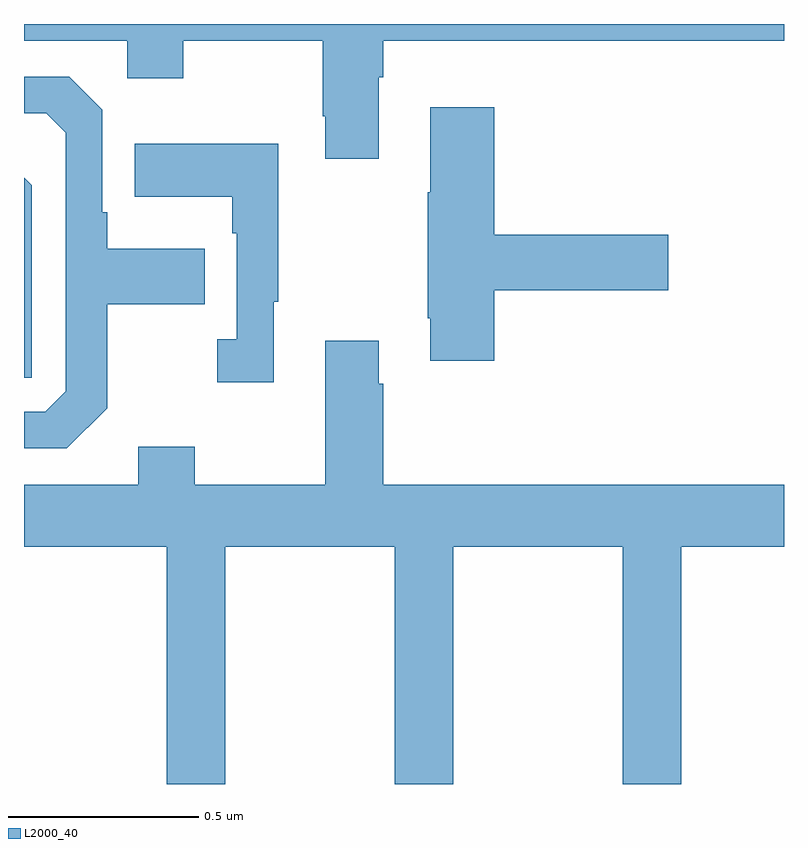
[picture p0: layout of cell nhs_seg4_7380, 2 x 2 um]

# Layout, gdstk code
import gdstk
lib = gdstk.Library(unit=1e-6, precision=1e-09)
def P(c, l, *ps):  # polygons
    for p in ps: c.add(gdstk.Polygon(p, *l))
L2000_40 = (2000, 40)

nhs_seg4_7380 = lib.new_cell('nhs_seg4_7380')
P(nhs_seg4_7380, L2000_40, [(202.933,760.76),(202.946,760.76),(202.946,760.856),(204,760.856),(204,760.9),(202,760.9),(202,760.856),(202.272,760.856),(202.272,760.757),(202.419,760.757),(202.419,760.856),(202.786,760.856),(202.786,760.657),(202.793,760.657),(202.793,760.545),(202.933,760.545)],
  [(202.219,759.889),(202.219,760.162),(202.475,760.162),(202.475,760.309),(202.219,760.309),(202.219,760.405),(202.206,760.405),(202.206,760.674),(202.119,760.761),(202,760.761),(202,760.665),(202.059,760.665),(202.11,760.614),(202.11,759.933),(202.056,759.879),(202,759.879),(202,759.783),(202.113,759.783)],
  [(203.237,760.199),(203.695,760.199),(203.695,760.346),(203.237,760.346),(203.237,760.681),(203.069,760.681),(203.069,760.457),(203.062,760.457),(203.062,760.126),(203.069,760.126),(203.069,760.014),(203.237,760.014)],
  [(202.657,760.169),(202.669,760.169),(202.669,760.585),(202.291,760.585),(202.291,760.445),(202.548,760.445),(202.548,760.349),(202.56,760.349),(202.56,760.07),(202.509,760.07),(202.509,759.957),(202.657,759.957)],
  [(202.02,760.476),(202,760.496),(202,759.969),(202.02,759.969)],
  [(202.53,759.524),(202.975,759.524),(202.975,758.9),(203.13,758.9),(203.13,759.524),(203.575,759.524),(203.575,758.9),(203.73,758.9),(203.73,759.524),(204,759.524),(204,759.688),(202.946,759.688),(202.946,759.953),(202.933,759.953),(202.933,760.066),(202.793,760.066),(202.793,759.688),(202.449,759.688),(202.449,759.787),(202.301,759.787),(202.301,759.688),(202,759.688),(202,759.524),(202.375,759.524),(202.375,758.9),(202.53,758.9)])

lib.write_gds('nhs_seg4_7380.gds')
